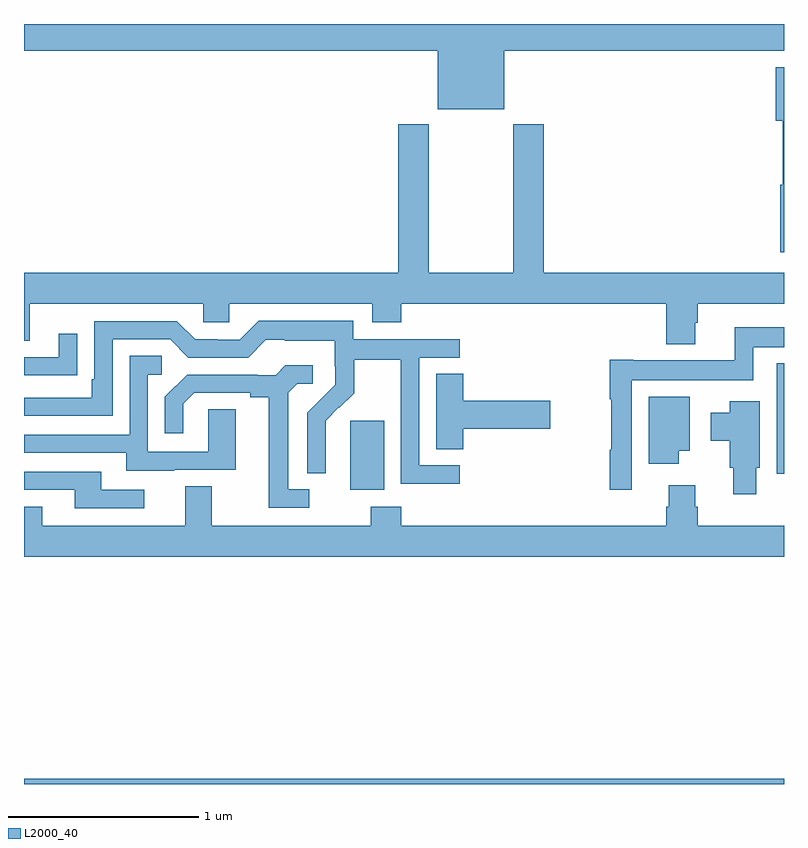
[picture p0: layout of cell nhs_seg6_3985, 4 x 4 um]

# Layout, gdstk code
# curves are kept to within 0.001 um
import gdstk
lib = gdstk.Library(unit=1e-6, precision=1e-09)
def R(c, l, rs):  # rectangles x0, y0, x1, y1
    for r in rs: c.add(gdstk.rectangle(r[:2], r[2:], *l))
def P(c, l, *ps):  # polygons
    for p in ps: c.add(gdstk.Polygon(p, *l))
L2000_40 = (2000, 40)

nhs_seg6_3985 = lib.new_cell('nhs_seg6_3985')
R(nhs_seg6_3985, L2000_40, [(347,919.5,351,919.528), (348.716,921.05,348.895,921.411), (350.961,921.132,351,921.715)])
P(nhs_seg6_3985, L2000_40, [(349.528,923.36),(351,923.36),(351,923.5),(347,923.5),(347,923.36),(349.178,923.36),(349.178,923.051),(349.528,923.051)],
  [(351,923.272),(350.957,923.272),(350.957,922.992),(350.993,922.992),(350.993,922.654),(350.981,922.654),(350.981,922.299),(351,922.299)],
  [(350.533,921.927),(350.546,921.927),(350.546,922.028),(351,922.028),(351,922.192),(349.736,922.192),(349.736,922.972),(349.576,922.972),(349.576,922.192),(349.131,922.192),(349.131,922.972),(348.971,922.972),(348.971,922.192),(347,922.192),(347,921.834),(347.029,921.834),(347.029,922.028),(347.943,922.028),(347.943,921.93),(348.081,921.93),(348.081,922.028),(348.833,922.028),(348.833,921.929),(348.986,921.929),(348.986,922.028),(350.381,922.028),(350.381,921.815),(350.533,921.815)],
  [(349.294,921.177),(349.08,921.177),(349.08,921.744),(349.294,921.744),(349.294,921.84),(348.732,921.84),(348.732,921.937),(348.235,921.937),(348.135,921.837),(348.02,921.837),(348.02,921.84),(347.901,921.84),(347.805,921.936),(347.37,921.936),(347.37,921.631),(347.357,921.631),(347.357,921.534),(347,921.534),(347,921.438),(347.466,921.438),(347.466,921.84),(347.769,921.84),(347.865,921.744),(348.18,921.744),(348.273,921.837),(348.373,921.837),(348.373,921.833),(348.636,921.833),(348.636,921.699),(348.638,921.699),(348.638,921.602),(348.492,921.454),(348.492,921.136),(348.588,921.136),(348.587,921.413),(348.657,921.483),(348.66,921.48),(348.737,921.557),(348.737,921.732),(348.982,921.732),(348.982,921.508),(348.984,921.508),(348.984,921.079),(349.294,921.079)],
  [(350.199,921.626),(350.838,921.626),(350.838,921.8),(351,921.8),(351,921.904),(350.741,921.904),(350.741,921.73),(350.206,921.73),(350.206,921.733),(350.083,921.733),(350.083,921.526),(350.091,921.526),(350.091,921.26),(350.083,921.26),(350.083,921.048),(350.199,921.048)],
  [(347.177,921.652),(347.279,921.652),(347.279,921.871),(347.183,921.871),(347.183,921.747),(347,921.747),(347,921.651),(347.177,921.651)],
  [(347.791,921.153),(348.115,921.153),(348.115,921.473),(347.97,921.473),(347.97,921.249),(347.652,921.249),(347.652,921.654),(347.725,921.654),(347.725,921.755),(347.556,921.755),(347.556,921.339),(347,921.339),(347,921.243),(347.537,921.243),(347.537,921.149),(347.791,921.149)],
  [(348.502,921.051),(348.391,921.051),(348.391,921.559),(348.438,921.606),(348.52,921.606),(348.52,921.703),(348.376,921.703),(348.324,921.651),(348.23,921.651),(348.23,921.654),(347.858,921.654),(347.742,921.538),(347.742,921.345),(347.839,921.345),(347.839,921.501),(347.896,921.558),(348.191,921.558),(348.191,921.536),(348.287,921.536),(348.287,920.955),(348.502,920.955)],
  [(349.313,921.371),(349.771,921.371),(349.771,921.518),(349.313,921.518),(349.313,921.659),(349.169,921.659),(349.169,921.262),(349.313,921.262)],
  [(350.446,921.254),(350.503,921.254),(350.503,921.538),(350.288,921.538),(350.288,921.186),(350.446,921.186)],
  [(350.854,921.165),(350.872,921.165),(350.872,921.514),(350.714,921.514),(350.714,921.454),(350.615,921.454),(350.615,921.307),(350.714,921.307),(350.714,921.165),(350.732,921.165),(350.732,921.024),(350.854,921.024)],
  [(347.632,921.048),(347.407,921.048),(347.407,921.144),(347,921.144),(347,921.048),(347.267,921.048),(347.267,920.952),(347.632,920.952)],
  [(351,920.86),(350.546,920.86),(350.546,920.958),(350.533,920.958),(350.533,921.073),(350.393,921.073),(350.393,920.958),(350.381,920.958),(350.381,920.86),(348.986,920.86),(348.986,920.959),(348.826,920.959),(348.826,920.86),(347.989,920.86),(347.989,921.068),(347.849,921.068),(347.849,920.86),(347.095,920.86),(347.095,920.959),(347,920.959),(347,920.696),(351,920.696)])

lib.write_gds('nhs_seg6_3985.gds')
